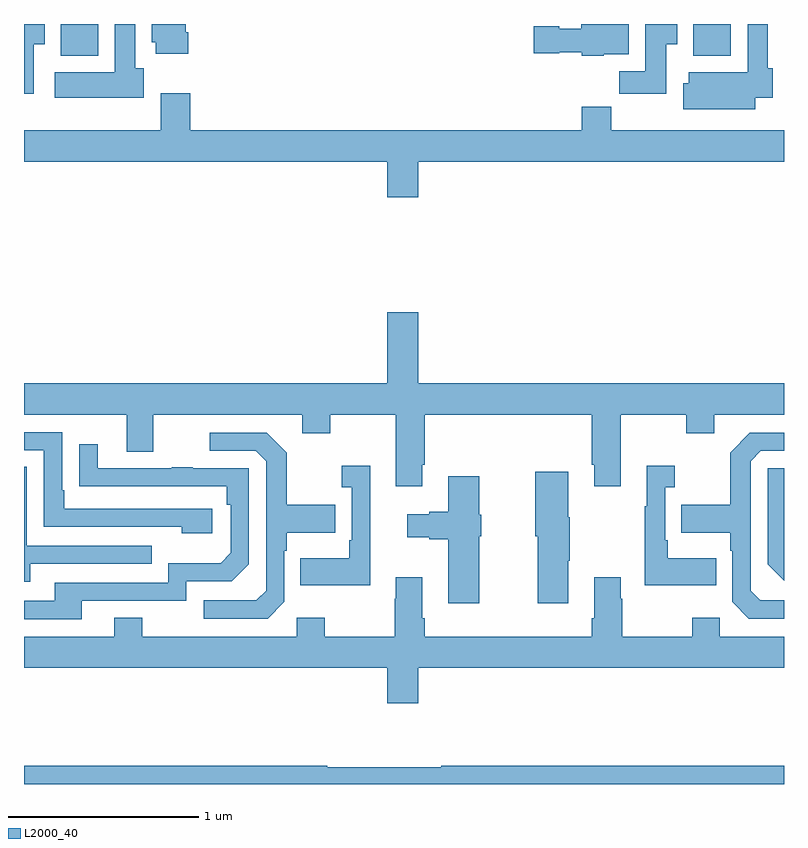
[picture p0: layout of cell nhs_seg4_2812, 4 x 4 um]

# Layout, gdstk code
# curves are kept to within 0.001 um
import gdstk
lib = gdstk.Library(unit=1e-6, precision=1e-09)
def R(c, l, rs):  # rectangles x0, y0, x1, y1
    for r in rs: c.add(gdstk.rectangle(r[:2], r[2:], *l))
def P(c, l, *ps):  # polygons
    for p in ps: c.add(gdstk.Polygon(p, *l))
L2000_40 = (2000, 40)

nhs_seg4_2812 = lib.new_cell('nhs_seg4_2812')
R(nhs_seg4_2812, L2000_40, [(259.193,774.734,259.39,774.9), (262.523,774.734,262.72,774.9)])
P(nhs_seg4_2812, L2000_40, [(259.051,774.793),(259.108,774.793),(259.108,774.9),(259,774.9),(259,774.534),(259.051,774.534)],
  [(259.865,774.856),(259.852,774.856),(259.852,774.9),(259.673,774.9),(259.673,774.804),(259.694,774.804),(259.694,774.744),(259.865,774.744)],
  [(262.381,774.793),(262.438,774.793),(262.438,774.9),(262.271,774.9),(262.271,774.652),(262.132,774.652),(262.132,774.534),(262.381,774.534)],
  [(262.05,774.74),(262.183,774.74),(262.183,774.9),(261.932,774.9),(261.932,774.874),(261.816,774.874),(261.816,774.887),(261.684,774.887),(261.684,774.745),(261.816,774.745),(261.816,774.752),(261.936,774.752),(261.936,774.734),(262.05,774.734)],
  [(262.849,774.512),(262.942,774.512),(262.942,774.666),(262.915,774.666),(262.915,774.9),(262.808,774.9),(262.808,774.646),(262.499,774.646),(262.499,774.587),(262.469,774.587),(262.469,774.452),(262.849,774.452)],
  [(259.63,774.666),(259.585,774.666),(259.585,774.9),(259.478,774.9),(259.478,774.646),(259.161,774.646),(259.161,774.512),(259.63,774.512)],
  [(261.076,774.176),(263,774.176),(263,774.34),(262.091,774.34),(262.091,774.464),(261.935,774.464),(261.935,774.34),(259.874,774.34),(259.874,774.535),(259.721,774.535),(259.721,774.34),(259,774.34),(259,774.176),(260.912,774.176),(260.912,773.988),(261.076,773.988)],
  [(261.076,773.383),(260.912,773.383),(260.912,773.008),(259,773.008),(259,772.844),(259.541,772.844),(259.541,772.65),(259.681,772.65),(259.681,772.844),(260.465,772.844),(260.465,772.745),(260.613,772.745),(260.613,772.844),(260.957,772.844),(260.957,772.467),(261.097,772.467),(261.097,772.579),(261.11,772.579),(261.11,772.844),(261.989,772.844),(261.989,772.579),(262.001,772.579),(262.001,772.467),(262.141,772.467),(262.141,772.844),(262.486,772.844),(262.486,772.745),(262.633,772.745),(262.633,772.844),(263,772.844),(263,773.008),(261.076,773.008)],
  [(259.99,772.35),(259.213,772.35),(259.213,772.447),(259.2,772.447),(259.2,772.752),(259,772.752),(259,772.656),(259.104,772.656),(259.104,772.254),(259.829,772.254),(259.829,772.22),(259.99,772.22)],
  [(260.37,771.858),(260.37,772.127),(260.383,772.127),(260.383,772.223),(260.639,772.223),(260.639,772.371),(260.383,772.371),(260.383,772.643),(260.277,772.749),(259.977,772.749),(259.977,772.653),(260.22,772.653),(260.274,772.599),(260.274,771.918),(260.223,771.867),(259.947,771.867),(259.947,771.771),(260.283,771.771)],
  [(263,771.867),(262.875,771.867),(262.824,771.918),(262.824,772.599),(262.878,772.653),(263,772.653),(263,772.749),(262.821,772.749),(262.716,772.643),(262.716,772.371),(262.459,772.371),(262.459,772.223),(262.716,772.223),(262.716,772.127),(262.728,772.127),(262.728,771.858),(262.815,771.771),(263,771.771)],
  [(259.303,771.864),(259.854,771.864),(259.854,771.966),(260.094,771.966),(260.184,772.056),(260.184,772.563),(259.889,772.563),(259.889,772.568),(259.777,772.568),(259.777,772.563),(259.387,772.563),(259.387,772.687),(259.291,772.687),(259.291,772.468),(260.068,772.467),(260.068,772.37),(260.088,772.37),(260.088,772.116),(260.035,772.063),(259.758,772.063),(259.758,771.96),(259.163,771.96),(259.163,771.864),(259,771.864),(259,771.768),(259.303,771.768)],
  [(262.643,772.087),(262.387,772.087),(262.387,772.183),(262.374,772.183),(262.374,772.463),(262.426,772.463),(262.426,772.576),(262.277,772.576),(262.277,772.363),(262.266,772.363),(262.266,771.947),(262.643,771.947)],
  [(260.822,772.576),(260.673,772.576),(260.673,772.463),(260.724,772.463),(260.724,772.183),(260.712,772.183),(260.712,772.087),(260.455,772.087),(260.455,771.947),(260.822,771.947)],
  [(259.033,772.059),(259.673,772.059),(259.673,772.155),(259.014,772.155),(259.014,772.571),(259,772.571),(259,771.965),(259.033,771.965)],
  [(263,772.563),(262.914,772.563),(262.914,772.056),(263,771.97)],
  [(261.865,772.075),(261.873,772.075),(261.873,772.303),(261.865,772.303),(261.865,772.543),(261.692,772.543),(261.692,772.203),(261.703,772.203),(261.703,771.852),(261.865,771.852)],
  [(261.396,772.203),(261.406,772.203),(261.406,772.317),(261.396,772.317),(261.396,772.519),(261.233,772.519),(261.233,772.334),(261.134,772.334),(261.134,772.321),(261.018,772.321),(261.018,772.199),(261.134,772.199),(261.134,772.187),(261.233,772.187),(261.233,771.852),(261.396,771.852)],
  [(261.076,771.512),(263,771.512),(263,771.676),(262.662,771.676),(262.662,771.775),(262.516,771.775),(262.516,771.676),(262.149,771.676),(262.149,771.875),(262.141,771.875),(262.141,771.988),(262.001,771.988),(262.001,771.772),(261.989,771.772),(261.989,771.676),(261.11,771.676),(261.11,771.772),(261.097,771.772),(261.097,771.988),(260.957,771.988),(260.957,771.875),(260.95,771.875),(260.95,771.676),(260.583,771.676),(260.583,771.775),(260.436,771.775),(260.436,771.676),(259.623,771.676),(259.623,771.775),(259.475,771.775),(259.475,771.676),(259,771.676),(259,771.512),(260.912,771.512),(260.912,771.324),(261.076,771.324)],
  [(263,770.996),(261.197,770.996),(261.197,770.989),(260.597,770.989),(260.597,770.996),(259,770.996),(259,770.9),(263,770.9)])

lib.write_gds('nhs_seg4_2812.gds')
